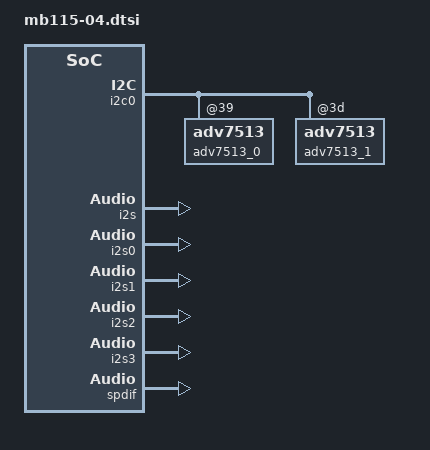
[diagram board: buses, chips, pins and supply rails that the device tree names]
/*
*
* Device Tree Source for RCM MB115.04 extention board ( Video and audio output module )
*
*/
/ {
	plb {
		lsif1 {
			i2c0: i2c@0x3C05A000 {
				status = "ok";

				// HDMI channel 0
				adv7513_0: adv7513@39 {
					status = "ok";
				};

				// HDMI channel 1
				adv7513_1: adv7513@3d {
					status = "ok";
				};
			};
		};

		mms {
			i2s: i2s@0x39080000 {
				status = "ok";
			};
			i2s0: i2s@0 {
				status = "ok";
			};
			i2s1: i2s@1 {
				status = "ok";
			};
			i2s2: i2s@2 {
				status = "ok";
			};
			i2s3: i2s@3 {
				status = "ok";
			};
			spdif: spdif@0x39080000 {
				status = "ok";
			};
			audio_dma: audio_dma@0x38017000 {
				status = "ok";
			};

			sound {
				// status = "ok";
				compatible = "simple-audio-card";
				simple-audio-card,name = "RCM Audio";
				#address-cells = <1>;
				#size-cells = <0>;
				#sound-dai-cells = <0>;

				simple-audio-card,dai-link@0 { // I2S0 - cs4384_0
					reg = <0>;
					format = "i2s";
					cpu {
						sound-dai = <&i2s0>;
					};
					codec {
						sound-dai = <&cs4384 0>;
					};
				};
				simple-audio-card,dai-link@1 { // I2S1 - cs4384_1
					reg = <1>;
					format = "i2s";
					cpu {
						sound-dai = <&i2s1>;
					};
					codec {
						sound-dai = <&cs4384 1>;
					};
				};
				simple-audio-card,dai-link@2 { // I2S2 - cs4384_2
					reg = <2>;
					format = "i2s";
					cpu {
						sound-dai = <&i2s2>;
					};
					codec {
						sound-dai = <&cs4384 2>;
					};
				};
				simple-audio-card,dai-link@3 { // I2S3 - cs4384_3
					reg = <3>;
					format = "i2s";
					cpu {
						sound-dai = <&i2s3>;
					};
					codec {
						sound-dai = <&cs4384 3>;
					};
				};

				simple-audio-card,dai-link@4 { // spdif
					reg = <4>;
					cpu {
						sound-dai = <&spdif>;
					};
					codec {
						sound-dai = <&spdif_out>;
					};
				};
			};

			spdif_out: spdif-out {
				#sound-dai-cells = <0>;
				compatible = "linux,spdif-dit";
			};

			// HDMI channel 0 (actually VDU index 1)
			vdu0: vdu@0x38013000 {
				status = "ok";
			};

			// HDMI channel 1 (actually VDU index 0)
			vdu1: vdu@0x38011000 {
				status = "ok";
			};

			vdu_graber: vdu_graber@0x38015000 {
				status = "ok";
			};
		};
	};
};
